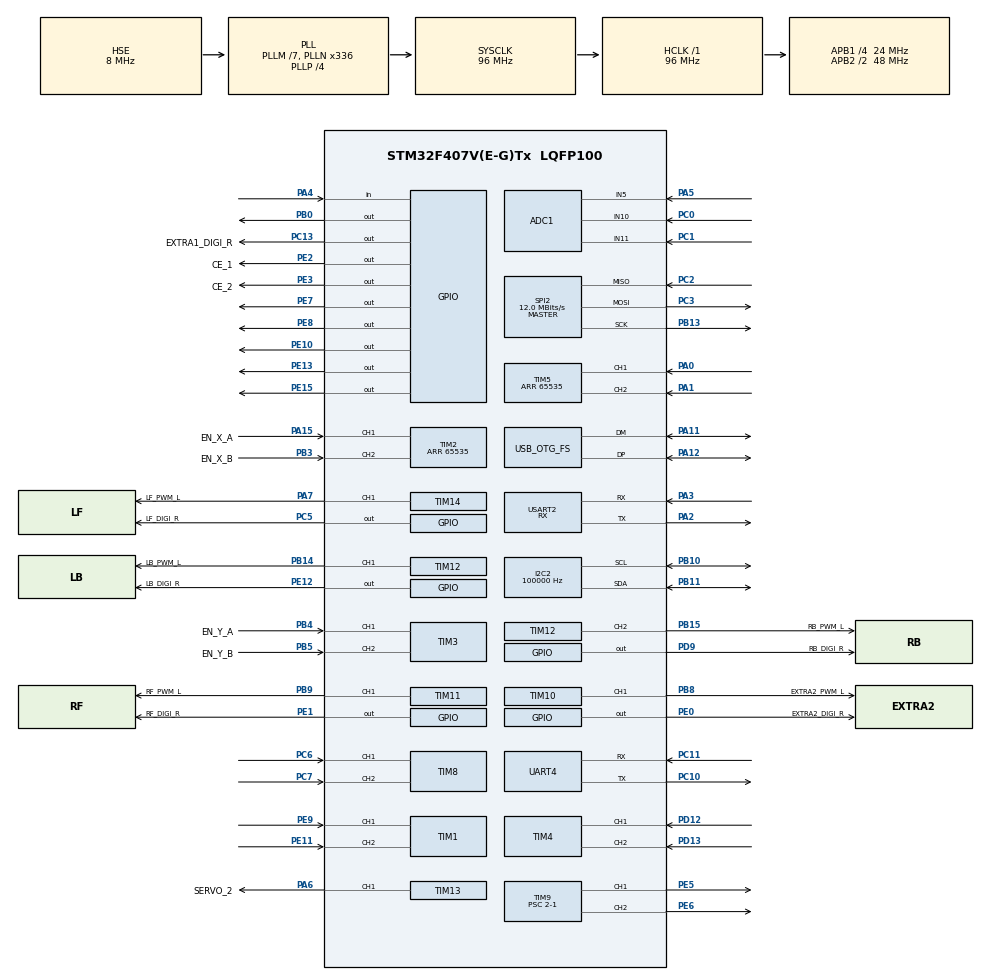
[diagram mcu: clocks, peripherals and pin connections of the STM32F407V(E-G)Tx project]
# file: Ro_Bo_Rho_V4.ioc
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ADC1.Channel-3\#ChannelRegularConversion=ADC_CHANNEL_5
ADC1.NbrOfConversionFlag=1
ADC1.Rank-3\#ChannelRegularConversion=1
ADC1.SamplingTime-3\#ChannelRegularConversion=ADC_SAMPLETIME_3CYCLES
ADC1.master=1
I2C2.ClockSpeed=100000
I2C2.I2C_Mode=I2C_Fast
Mcu.Family=STM32F4
Mcu.Name=STM32F407V(E-G)Tx
Mcu.Package=LQFP100
NVIC.OTG_FS_IRQn=true\:0\:0\:false\:false\:true\:false\:true\:true
NVIC.PriorityGroup=NVIC_PRIORITYGROUP_4
NVIC.USART2_IRQn=true\:0\:0\:false\:false\:true\:true\:true\:true
PA0-WKUP.GPIO_PuPd=GPIO_PULLDOWN
PA0-WKUP.GPIO_Speed=GPIO_SPEED_FREQ_VERY_HIGH
PA0-WKUP.Signal=S_TIM5_CH1
PA1.GPIO_PuPd=GPIO_PULLDOWN
PA1.GPIO_Speed=GPIO_SPEED_FREQ_VERY_HIGH
PA1.Signal=S_TIM5_CH2
PA11.Mode=Device_Only
PA11.Signal=USB_OTG_FS_DM
PA12.Mode=Device_Only
PA12.Signal=USB_OTG_FS_DP
PA15.GPIO_Label=EN_X_A
PA15.GPIO_PuPd=GPIO_NOPULL
PA15.Signal=S_TIM2_CH1_ETR
PA2.Mode=Asynchronous
PA2.Signal=USART2_TX
PA3.Mode=Asynchronous
PA3.Signal=USART2_RX
PA4.GPIO_PuPd=GPIO_PULLUP
PA4.Signal=GPIO_Input
PA5.Signal=ADCx_IN5
PA6.GPIO_Label=SERVO_2
PA6.Signal=S_TIM13_CH1
PA7.GPIO_Label=LF_PWM_L
PA7.Signal=S_TIM14_CH1
PB0.Signal=GPIO_Output
PB10.Mode=I2C
PB10.Signal=I2C2_SCL
PB11.Mode=I2C
PB11.Signal=I2C2_SDA
PB13.Mode=Full_Duplex_Master
PB13.Signal=SPI2_SCK
PB14.GPIO_Label=LB_PWM_L
PB14.Signal=S_TIM12_CH1
PB15.GPIO_Label=RB_PWM_L
PB15.Signal=S_TIM12_CH2
PB3.GPIO_Label=EN_X_B
PB3.Signal=S_TIM2_CH2
PB4.GPIO_Label=EN_Y_A
PB4.GPIO_PuPd=GPIO_PULLDOWN
PB4.Signal=S_TIM3_CH1
PB5.GPIO_Label=EN_Y_B
PB5.GPIO_PuPd=GPIO_PULLDOWN
PB5.Signal=S_TIM3_CH2
PB8.GPIO_Label=EXTRA2_PWM_L
PB8.Signal=S_TIM10_CH1
PB9.GPIO_Label=RF_PWM_L
PB9.Signal=S_TIM11_CH1
PC0.Signal=ADCx_IN10
PC1.Signal=ADCx_IN11
PC10.Mode=Asynchronous
PC10.Signal=UART4_TX
PC11.Mode=Asynchronous
PC11.Signal=UART4_RX
PC13-ANTI_TAMP.GPIO_Label=EXTRA1_DIGI_R
PC13-ANTI_TAMP.Signal=GPIO_Output
PC14-OSC32_IN.Mode=LSE-External-Oscillator
PC14-OSC32_IN.Signal=RCC_OSC32_IN
PC15-OSC32_OUT.Mode=LSE-External-Oscillator
PC15-OSC32_OUT.Signal=RCC_OSC32_OUT
PC2.Mode=Full_Duplex_Master
PC2.Signal=SPI2_MISO
PC3.Mode=Full_Duplex_Master
PC3.Signal=SPI2_MOSI
PC5.GPIO_Label=LF_DIGI_R
PC5.GPIO_PuPd=GPIO_PULLDOWN
PC5.Signal=GPIO_Output
PC6.GPIO_PuPd=GPIO_PULLDOWN
PC6.GPIO_Speed=GPIO_SPEED_FREQ_VERY_HIGH
PC6.Signal=S_TIM8_CH1
PC7.GPIO_PuPd=GPIO_PULLDOWN
PC7.GPIO_Speed=GPIO_SPEED_FREQ_VERY_HIGH
PC7.Signal=S_TIM8_CH2
PD12.GPIO_Speed=GPIO_SPEED_FREQ_VERY_HIGH
PD12.Signal=S_TIM4_CH1
PD13.GPIO_Speed=GPIO_SPEED_FREQ_VERY_HIGH
PD13.Signal=S_TIM4_CH2
PD9.GPIO_Label=RB_DIGI_R
PD9.GPIO_PuPd=GPIO_PULLDOWN
PD9.Signal=GPIO_Output
PE0.GPIO_Label=EXTRA2_DIGI_R
PE0.Signal=GPIO_Output
PE1.GPIO_Label=RF_DIGI_R
PE1.GPIO_PuPd=GPIO_PULLDOWN
PE1.Signal=GPIO_Output
PE10.Signal=GPIO_Output
PE11.GPIO_PuPd=GPIO_PULLDOWN
PE11.GPIO_Speed=GPIO_SPEED_FREQ_VERY_HIGH
PE11.Signal=S_TIM1_CH2
PE12.GPIO_Label=LB_DIGI_R
PE12.GPIO_PuPd=GPIO_PULLDOWN
PE12.Signal=GPIO_Output
PE13.Signal=GPIO_Output
PE15.Signal=GPIO_Output
PE2.GPIO_Label=CE_1
PE2.Signal=GPIO_Output
PE3.GPIO_Label=CE_2
PE3.Signal=GPIO_Output
PE5.GPIO_ModeDefaultPP=GPIO_MODE_AF_PP
PE5.GPIO_PuPd=GPIO_NOPULL
PE5.GPIO_Speed=GPIO_SPEED_FREQ_LOW
PE5.Signal=S_TIM9_CH1
PE6.GPIO_ModeDefaultPP=GPIO_MODE_AF_PP
PE6.GPIO_PuPd=GPIO_NOPULL
PE6.GPIO_Speed=GPIO_SPEED_FREQ_LOW
PE6.Signal=S_TIM9_CH2
PE7.Signal=GPIO_Output
PE8.Signal=GPIO_Output
PE9.GPIO_ModeDefaultPP=GPIO_MODE_AF_PP
PE9.GPIO_PuPd=GPIO_PULLDOWN
PE9.GPIO_Speed=GPIO_SPEED_FREQ_VERY_HIGH
PE9.Signal=S_TIM1_CH1
PH0-OSC_IN.Mode=HSE-External-Oscillator
PH0-OSC_IN.Signal=RCC_OSC_IN
PH1-OSC_OUT.Mode=HSE-External-Oscillator
PH1-OSC_OUT.Signal=RCC_OSC_OUT
ProjectManager.HeapSize=0x200
ProjectManager.StackSize=0x400
ProjectManager.TargetToolchain=STM32CubeIDE
RCC.48MHZClocksFreq_Value=48000000.00000001
RCC.AHBFreq_Value=96000000.00000001
RCC.APB1CLKDivider=RCC_HCLK_DIV4
RCC.APB1Freq_Value=24000000.000000004
RCC.APB1TimFreq_Value=48000000.00000001
RCC.APB2CLKDivider=RCC_HCLK_DIV2
RCC.APB2Freq_Value=48000000.00000001
RCC.APB2TimFreq_Value=96000000.00000001
RCC.CortexFreq_Value=96000000.00000001
RCC.HCLKFreq_Value=96000000.00000001
RCC.HSE_VALUE=8000000
RCC.HSI_VALUE=16000000
RCC.PLLM=7
RCC.PLLN=336
RCC.PLLP=RCC_PLLP_DIV4
RCC.PLLQ=8
RCC.SYSCLKFreq_VALUE=96000000.00000001
RCC.SYSCLKSource=RCC_SYSCLKSOURCE_PLLCLK
RCC.VCOOutputFreq_Value=384000000.00000006
SH.ADCx_IN10.0=ADC1_IN10,IN10
SH.ADCx_IN11.0=ADC1_IN11,IN11
SH.ADCx_IN5.0=ADC1_IN5,IN5
SH.S_TIM10_CH1.0=TIM10_CH1,PWM Generation1 CH1
SH.S_TIM11_CH1.0=TIM11_CH1,PWM Generation1 CH1
SH.S_TIM12_CH1.0=TIM12_CH1,PWM Generation1 CH1
SH.S_TIM12_CH2.0=TIM12_CH2,PWM Generation2 CH2
SH.S_TIM13_CH1.0=TIM13_CH1,PWM Generation1 CH1
SH.S_TIM14_CH1.0=TIM14_CH1,PWM Generation1 CH1
SH.S_TIM1_CH1.0=TIM1_CH1,Encoder_Interface
SH.S_TIM1_CH2.0=TIM1_CH2,Encoder_Interface
SH.S_TIM2_CH1_ETR.0=TIM2_CH1,Encoder_Interface
SH.S_TIM2_CH2.0=TIM2_CH2,Encoder_Interface
SH.S_TIM3_CH1.0=TIM3_CH1,Encoder_Interface
SH.S_TIM3_CH2.0=TIM3_CH2,Encoder_Interface
SH.S_TIM4_CH1.0=TIM4_CH1,Encoder_Interface
SH.S_TIM4_CH2.0=TIM4_CH2,Encoder_Interface
SH.S_TIM5_CH1.0=TIM5_CH1,Encoder_Interface
SH.S_TIM5_CH2.0=TIM5_CH2,Encoder_Interface
SH.S_TIM8_CH1.0=TIM8_CH1,Encoder_Interface
SH.S_TIM8_CH2.0=TIM8_CH2,Encoder_Interface
SH.S_TIM9_CH1.0=TIM9_CH1,PWM Generation1 CH1
SH.S_TIM9_CH2.0=TIM9_CH2,PWM Generation2 CH2
SPI2.CalculateBaudRate=12.0 MBits/s
SPI2.Direction=SPI_DIRECTION_2LINES
SPI2.Mode=SPI_MODE_MASTER
SPI2.VirtualType=VM_MASTER
TIM1.EncoderMode=TIM_ENCODERMODE_TI12
TIM10.Channel=TIM_CHANNEL_1
TIM10.Period=4096-1
TIM10.Prescaler=2-1
TIM11.Channel=TIM_CHANNEL_1
TIM11.Period=4096-1
TIM11.Prescaler=2-1
TIM12.Channel-PWM\ Generation1\ CH1=TIM_CHANNEL_1
TIM12.Channel-PWM\ Generation2\ CH2=TIM_CHANNEL_2
TIM12.Period=4096-1
TIM12.Prescaler=2-1
TIM13.Channel=TIM_CHANNEL_1
TIM13.Period=4096-1
TIM13.Prescaler=2-1
TIM14.Channel=TIM_CHANNEL_1
TIM14.Period=4096-1
TIM14.Prescaler=2-1
TIM2.EncoderMode=TIM_ENCODERMODE_TI12
TIM2.Period=65535
TIM3.EncoderMode=TIM_ENCODERMODE_TI12
TIM4.EncoderMode=TIM_ENCODERMODE_TI12
TIM5.EncoderMode=TIM_ENCODERMODE_TI12
TIM5.Period=65535
TIM8.EncoderMode=TIM_ENCODERMODE_TI12
TIM9.Channel-PWM\ Generation1\ CH1=TIM_CHANNEL_1
TIM9.Channel-PWM\ Generation2\ CH2=TIM_CHANNEL_2
TIM9.Period=4096-1
TIM9.Prescaler=2-1
UART4.VirtualMode=Asynchronous
USART2.Mode=MODE_RX
USART2.VirtualMode=VM_ASYNC
USB_DEVICE.CLASS_NAME_FS=CDC
USB_DEVICE.VirtualMode-CDC_FS=Cdc
USB_DEVICE.VirtualModeFS=Cdc_FS
USB_OTG_FS.VirtualMode=Device_Only
VP_TIM10_VS_ClockSourceINT.Mode=Enable_Timer
VP_TIM11_VS_ClockSourceINT.Mode=Enable_Timer
VP_TIM13_VS_ClockSourceINT.Mode=Enable_Timer
VP_TIM14_VS_ClockSourceINT.Mode=Enable_Timer
VP_USB_DEVICE_VS_USB_DEVICE_CDC_FS.Mode=CDC_FS
board=custom

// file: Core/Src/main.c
/* USER CODE BEGIN Header */
/**
  ******************************************************************************
  * @file           : main.c
  * @brief          : Main program body
  ******************************************************************************
  * @attention
  *
  * Copyright (c) 2025 STMicroelectronics.
  * All rights reserved.
  *
  * This software is licensed under terms that can be found in the LICENSE file
  * in the root directory of this software component.
  * If no LICENSE file comes with this software, it is provided AS-IS.
  *
  ******************************************************************************
  */
/* USER CODE END Header */
#include "main.h"
#include "usb_device.h"

/* USER CODE BEGIN Includes */
#include "UART_ESP.h"

#include "Encoder_Motor.h"

#include "Inverse_Kinematics.h"
/* USER CODE END Includes */

ADC_HandleTypeDef hadc1;

I2C_HandleTypeDef hi2c2;

SPI_HandleTypeDef hspi2;

TIM_HandleTypeDef htim1;
TIM_HandleTypeDef htim2;
TIM_HandleTypeDef htim3;
TIM_HandleTypeDef htim4;
TIM_HandleTypeDef htim5;
TIM_HandleTypeDef htim8;
TIM_HandleTypeDef htim9;
TIM_HandleTypeDef htim10;
TIM_HandleTypeDef htim11;
TIM_HandleTypeDef htim12;
TIM_HandleTypeDef htim13;
TIM_HandleTypeDef htim14;

UART_HandleTypeDef huart4;
UART_HandleTypeDef huart2;

void SystemClock_Config(void);
static void MX_GPIO_Init(void);
static void MX_TIM2_Init(void);
static void MX_TIM4_Init(void);
static void MX_ADC1_Init(void);
static void MX_SPI2_Init(void);
static void MX_TIM1_Init(void);
static void MX_TIM8_Init(void);
static void MX_TIM9_Init(void);
static void MX_TIM10_Init(void);
static void MX_TIM11_Init(void);
static void MX_TIM12_Init(void);
static void MX_TIM13_Init(void);
static void MX_TIM14_Init(void);
static void MX_USART2_UART_Init(void);
static void MX_UART4_Init(void);
static void MX_I2C2_Init(void);
static void MX_TIM3_Init(void);
static void MX_TIM5_Init(void);

/* USER CODE BEGIN 0 */
ControllerData Str_PS2;

long PastTime = 0;

float Vx = 0.0f;
float Vy = 0.0f;
float Vz = 0.0f;

uint8_t addr;
float Rad = -0.7854f;

float PID[6] = { 0 };
/* USER CODE END 0 */

int main(void)
{

  /* MCU Configuration--------------------------------------------------------*/

  /* Reset of all peripherals, Initializes the Flash interface and the Systick. */
  HAL_Init();

  /* Configure the system clock */
  SystemClock_Config();

  /* Initialize all configured peripherals */
  MX_GPIO_Init();
  MX_TIM2_Init();
  MX_TIM4_Init();
  MX_ADC1_Init();
  MX_SPI2_Init();
  MX_TIM1_Init();
  MX_TIM8_Init();
  MX_TIM9_Init();
  MX_TIM10_Init();
  MX_TIM11_Init();
  MX_TIM12_Init();
  MX_TIM13_Init();
  MX_TIM14_Init();
  MX_USART2_UART_Init();
  MX_USB_DEVICE_Init();
  MX_UART4_Init();
  MX_I2C2_Init();
  MX_TIM3_Init();
  MX_TIM5_Init();
  /* USER CODE BEGIN 2 */
	Motor_setup_LF(&htim14, &htim5, "PC05");
	Motor_setup_LB(&htim12, &htim1, "PE12");
	Motor_setup_RF(&htim11, &htim8, "PE01");
	Motor_setup_RB(&htim12, &htim4, "PD09");

	Motor_setup_EXTRA1(&htim10, &htim2, "PE00");
	Motor_setup_EXTRA2(&htim9, &htim3, "PC13");

	//	HAL_TIMEx_PWMN_Start(&htim9, TIM_CHANNEL_2);

	Setup_Gear_Ratio(27);
	Setup_CPR(68);
	Setup_frequency_Motor(100);

	Setup_PID_Wheel(1.5, 0.05, 0.1, 0, 360, _LF);
	Setup_PID_Wheel(1.5, 0.05, 0.1, 0, 360, _LB);
	Setup_PID_Wheel(1.5, 0.05, 0.1, 0, 360, _RF);
	Setup_PID_Wheel(1.5, 0.05, 0.1, 0, 360, _RB);

	//	Setup_PID_Wheel(1.0, 0.0, 0.2, 0, 300, _EXTRA1);
	//	Setup_PID_Wheel(1.0, 0.0, 0.2, 0, 300, _EXTRA2);

	Setup_Ramp_Count(1.5, 0.004, 0.1, 13790.0, 2700.0);

	//	Setup_frequency_Forward_Kinematic(100);
	//  Setup_Forward_Kinematic(0.23f ,0.23f ,0.06f);

	Setup_Inverse_Kinematic(0.23f, 0.23f, 0.06f);

	HAL_UART_Receive_IT(&huart2, (uint8_t*) &Str_PS2, sizeof(Str_PS2));
  /* USER CODE END 2 */

  /* Infinite loop */
  while (1)
  {

    /* USER CODE BEGIN 3 */
		if ((uwTick - PastTime) > 10) {
			PastTime = uwTick;

			digitalWrite("PE15", (UART_Runner(&huart2) == 1) ? 1 : 0);

			Vx = map(Str_PS2.stickValue[0], 100.0f, -100.0f, 4.0f, -4.0f);
			Vy = map(Str_PS2.stickValue[1], 100.0f, -100.0f, 4.0f, -4.0f);
			Vz = map(Str_PS2.stickValue[3], 100.0f, -100.0f, -5.0f, 5.0f);

//			Inverse_Kinematic(Vx, Vy, Vz);
			Inverse_Kinematic_Lock_Direction(Vx, Vy, Vz, Rad);

			Motor_Speed_LF(getRad_s_to_RPM(get_w_LF()),getRPM_TIM_Wheel(&htim5, _LF));
			Motor_Speed_LB(getRad_s_to_RPM(get_w_LB()),getRPM_TIM_Wheel(&htim1, _LB));
			Motor_Speed_RF(getRad_s_to_RPM(get_w_RF()),getRPM_TIM_Wheel(&htim8, _RF));
			Motor_Speed_RB(getRad_s_to_RPM(get_w_RB()),getRPM_TIM_Wheel(&htim4, _RB));

			Game_Play_ROBOT_1(&htim9 ,&htim2);

			///////////////////////////////////////////test//////////////////////////////////////////////////////////////

//			Motor_Speed_LF(250, getRPM_TIM_Wheel(&htim5, _LF));
//			Motor_Speed_LB(250, getRPM_TIM_Wheel(&htim1, _LB));
//			Motor_Speed_RF(250, getRPM_TIM_Wheel(&htim8, _RF));
//			Motor_Speed_RB(250, getRPM_TIM_Wheel(&htim4, _RB));
//
//			Motor_DutyCycle_LF(4000);
//			Motor_DutyCycle_LB(4000);
//			Motor_DutyCycle_RF(4000);
//			Motor_DutyCycle_RB(4000);
//
//			Motor_DutyCycle_EXTRA1(-4000);
//			Motor_DutyCycle_EXTRA2(4000);
//
//			getCount(&htim2, _EXTRA1);
//			getCount(&htim3, _EXTRA2);
//
//			getRPM_TIM_Wheel(&htim5, _LF);
//			getRPM_TIM_Wheel(&htim1, _LB);
//			getRPM_TIM_Wheel(&htim8, _RF);
//			getRPM_TIM_Wheel(&htim4, _RB);

//			getRPM_TIM_Wheel(&htim2, _EXTRA1);
//			getRPM_TIM_Wheel(&htim3, _RB);

//			Vx = digitalRead("PA04");

//			Motor_DutyCycle_EXTRA1(Ramp_Count(-135.0 ,Count_to_degree(getCount(&htim2 ,_EXTRA1))));
//			Motor_DutyCycle(&htim9, Servo1, "PB00", 2000);

			///////////////////////////////////////////test//////////////////////////////////////////////////////////////

		}
  }
  /* USER CODE END 3 */
}

void SystemClock_Config(void)
{
  RCC_OscInitTypeDef RCC_OscInitStruct = {0};
  RCC_ClkInitTypeDef RCC_ClkInitStruct = {0};

  /** Configure the main internal regulator output voltage
  */
  __HAL_RCC_PWR_CLK_ENABLE();
  __HAL_PWR_VOLTAGESCALING_CONFIG(PWR_REGULATOR_VOLTAGE_SCALE1);

  /** Initializes the RCC Oscillators according to the specified parameters
  * in the RCC_OscInitTypeDef structure.
  */
  RCC_OscInitStruct.OscillatorType = RCC_OSCILLATORTYPE_HSE;
  RCC_OscInitStruct.HSEState = RCC_HSE_ON;
  RCC_OscInitStruct.PLL.PLLState = RCC_PLL_ON;
  RCC_OscInitStruct.PLL.PLLSource = RCC_PLLSOURCE_HSE;
  RCC_OscInitStruct.PLL.PLLM = 7;
  RCC_OscInitStruct.PLL.PLLN = 336;
  RCC_OscInitStruct.PLL.PLLP = RCC_PLLP_DIV4;
  RCC_OscInitStruct.PLL.PLLQ = 8;
  if (HAL_RCC_OscConfig(&RCC_OscInitStruct) != HAL_OK)
  {
    Error_Handler();
  }

  /** Initializes the CPU, AHB and APB buses clocks
  */
  RCC_ClkInitStruct.ClockType = RCC_CLOCKTYPE_HCLK|RCC_CLOCKTYPE_SYSCLK
                              |RCC_CLOCKTYPE_PCLK1|RCC_CLOCKTYPE_PCLK2;
  RCC_ClkInitStruct.SYSCLKSource = RCC_SYSCLKSOURCE_PLLCLK;
  RCC_ClkInitStruct.AHBCLKDivider = RCC_SYSCLK_DIV1;
  RCC_ClkInitStruct.APB1CLKDivider = RCC_HCLK_DIV4;
  RCC_ClkInitStruct.APB2CLKDivider = RCC_HCLK_DIV2;

  if (HAL_RCC_ClockConfig(&RCC_ClkInitStruct, FLASH_LATENCY_3) != HAL_OK)
  {
    Error_Handler();
  }
}

static void MX_ADC1_Init(void)
{

  ADC_ChannelConfTypeDef sConfig = {0};

  /** Configure the global features of the ADC (Clock, Resolution, Data Alignment and number of conversion)
  */
  hadc1.Instance = ADC1;
  hadc1.Init.ClockPrescaler = ADC_CLOCK_SYNC_PCLK_DIV2;
  hadc1.Init.Resolution = ADC_RESOLUTION_12B;
  hadc1.Init.ScanConvMode = DISABLE;
  hadc1.Init.ContinuousConvMode = DISABLE;
  hadc1.Init.DiscontinuousConvMode = DISABLE;
  hadc1.Init.ExternalTrigConvEdge = ADC_EXTERNALTRIGCONVEDGE_NONE;
  hadc1.Init.ExternalTrigConv = ADC_SOFTWARE_START;
  hadc1.Init.DataAlign = ADC_DATAALIGN_RIGHT;
  hadc1.Init.NbrOfConversion = 1;
  hadc1.Init.DMAContinuousRequests = DISABLE;
  hadc1.Init.EOCSelection = ADC_EOC_SINGLE_CONV;
  if (HAL_ADC_Init(&hadc1) != HAL_OK)
  {
    Error_Handler();
  }

  /** Configure for the selected ADC regular channel its corresponding rank in the sequencer and its sample time.
  */
  sConfig.Channel = ADC_CHANNEL_5;
  sConfig.Rank = 1;
  sConfig.SamplingTime = ADC_SAMPLETIME_3CYCLES;
  if (HAL_ADC_ConfigChannel(&hadc1, &sConfig) != HAL_OK)
  {
    Error_Handler();
  }

}

static void MX_I2C2_Init(void)
{

  hi2c2.Instance = I2C2;
  hi2c2.Init.ClockSpeed = 100000;
  hi2c2.Init.DutyCycle = I2C_DUTYCYCLE_2;
  hi2c2.Init.OwnAddress1 = 0;
  hi2c2.Init.AddressingMode = I2C_ADDRESSINGMODE_7BIT;
  hi2c2.Init.DualAddressMode = I2C_DUALADDRESS_DISABLE;
  hi2c2.Init.OwnAddress2 = 0;
  hi2c2.Init.GeneralCallMode = I2C_GENERALCALL_DISABLE;
  hi2c2.Init.NoStretchMode = I2C_NOSTRETCH_DISABLE;
  if (HAL_I2C_Init(&hi2c2) != HAL_OK)
  {
    Error_Handler();
  }

}

static void MX_SPI2_Init(void)
{

  /* SPI2 parameter configuration*/
  hspi2.Instance = SPI2;
  hspi2.Init.Mode = SPI_MODE_MASTER;
  hspi2.Init.Direction = SPI_DIRECTION_2LINES;
  hspi2.Init.DataSize = SPI_DATASIZE_8BIT;
  hspi2.Init.CLKPolarity = SPI_POLARITY_LOW;
  hspi2.Init.CLKPhase = SPI_PHASE_1EDGE;
  hspi2.Init.NSS = SPI_NSS_SOFT;
  hspi2.Init.BaudRatePrescaler = SPI_BAUDRATEPRESCALER_2;
  hspi2.Init.FirstBit = SPI_FIRSTBIT_MSB;
  hspi2.Init.TIMode = SPI_TIMODE_DISABLE;
  hspi2.Init.CRCCalculation = SPI_CRCCALCULATION_DISABLE;
  hspi2.Init.CRCPolynomial = 10;
  if (HAL_SPI_Init(&hspi2) != HAL_OK)
  {
    Error_Handler();
  }

}

static void MX_TIM1_Init(void)
{

  TIM_Encoder_InitTypeDef sConfig = {0};
  TIM_MasterConfigTypeDef sMasterConfig = {0};

  htim1.Instance = TIM1;
  htim1.Init.Prescaler = 0;
  htim1.Init.CounterMode = TIM_COUNTERMODE_UP;
  htim1.Init.Period = 65535;
  htim1.Init.ClockDivision = TIM_CLOCKDIVISION_DIV1;
  htim1.Init.RepetitionCounter = 0;
  htim1.Init.AutoReloadPreload = TIM_AUTORELOAD_PRELOAD_DISABLE;
  sConfig.EncoderMode = TIM_ENCODERMODE_TI12;
  sConfig.IC1Polarity = TIM_ICPOLARITY_RISING;
  sConfig.IC1Selection = TIM_ICSELECTION_DIRECTTI;
  sConfig.IC1Prescaler = TIM_ICPSC_DIV1;
  sConfig.IC1Filter = 0;
  sConfig.IC2Polarity = TIM_ICPOLARITY_RISING;
  sConfig.IC2Selection = TIM_ICSELECTION_DIRECTTI;
  sConfig.IC2Prescaler = TIM_ICPSC_DIV1;
  sConfig.IC2Filter = 0;
  if (HAL_TIM_Encoder_Init(&htim1, &sConfig) != HAL_OK)
  {
    Error_Handler();
  }
  sMasterConfig.MasterOutputTrigger = TIM_TRGO_RESET;
  sMasterConfig.MasterSlaveMode = TIM_MASTERSLAVEMODE_DISABLE;
  if (HAL_TIMEx_MasterConfigSynchronization(&htim1, &sMasterConfig) != HAL_OK)
  {
    Error_Handler();
  }

}

static void MX_TIM2_Init(void)
{

  TIM_Encoder_InitTypeDef sConfig = {0};
  TIM_MasterConfigTypeDef sMasterConfig = {0};

  htim2.Instance = TIM2;
  htim2.Init.Prescaler = 0;
  htim2.Init.CounterMode = TIM_COUNTERMODE_UP;
  htim2.Init.Period = 65535;
  htim2.Init.ClockDivision = TIM_CLOCKDIVISION_DIV1;
  htim2.Init.AutoReloadPreload = TIM_AUTORELOAD_PRELOAD_DISABLE;
  sConfig.EncoderMode = TIM_ENCODERMODE_TI12;
  sConfig.IC1Polarity = TIM_ICPOLARITY_RISING;
  sConfig.IC1Selection = TIM_ICSELECTION_DIRECTTI;
  sConfig.IC1Prescaler = TIM_ICPSC_DIV1;
  sConfig.IC1Filter = 0;
  sConfig.IC2Polarity = TIM_ICPOLARITY_RISING;
  sConfig.IC2Selection = TIM_ICSELECTION_DIRECTTI;
  sConfig.IC2Prescaler = TIM_ICPSC_DIV1;
  sConfig.IC2Filter = 0;
  if (HAL_TIM_Encoder_Init(&htim2, &sConfig) != HAL_OK)
  {
    Error_Handler();
  }
  sMasterConfig.MasterOutputTrigger = TIM_TRGO_RESET;
  sMasterConfig.MasterSlaveMode = TIM_MASTERSLAVEMODE_DISABLE;
  if (HAL_TIMEx_MasterConfigSynchronization(&htim2, &sMasterConfig) != HAL_OK)
  {
    Error_Handler();
  }

}

static void MX_TIM3_Init(void)
{

  TIM_Encoder_InitTypeDef sConfig = {0};
  TIM_MasterConfigTypeDef sMasterConfig = {0};

  htim3.Instance = TIM3;
  htim3.Init.Prescaler = 0;
  htim3.Init.CounterMode = TIM_COUNTERMODE_UP;
  htim3.Init.Period = 65535;
  htim3.Init.ClockDivision = TIM_CLOCKDIVISION_DIV1;
  htim3.Init.AutoReloadPreload = TIM_AUTORELOAD_PRELOAD_DISABLE;
  sConfig.EncoderMode = TIM_ENCODERMODE_TI12;
  sConfig.IC1Polarity = TIM_ICPOLARITY_RISING;
  sConfig.IC1Selection = TIM_ICSELECTION_DIRECTTI;
  sConfig.IC1Prescaler = TIM_ICPSC_DIV1;
  sConfig.IC1Filter = 0;
  sConfig.IC2Polarity = TIM_ICPOLARITY_RISING;
  sConfig.IC2Selection = TIM_ICSELECTION_DIRECTTI;
  sConfig.IC2Prescaler = TIM_ICPSC_DIV1;
  sConfig.IC2Filter = 0;
  if (HAL_TIM_Encoder_Init(&htim3, &sConfig) != HAL_OK)
  {
    Error_Handler();
  }
  sMasterConfig.MasterOutputTrigger = TIM_TRGO_RESET;
  sMasterConfig.MasterSlaveMode = TIM_MASTERSLAVEMODE_DISABLE;
  if (HAL_TIMEx_MasterConfigSynchronization(&htim3, &sMasterConfig) != HAL_OK)
  {
    Error_Handler();
  }

}

static void MX_TIM4_Init(void)
{

  TIM_Encoder_InitTypeDef sConfig = {0};
  TIM_MasterConfigTypeDef sMasterConfig = {0};

  htim4.Instance = TIM4;
  htim4.Init.Prescaler = 0;
  htim4.Init.CounterMode = TIM_COUNTERMODE_UP;
  htim4.Init.Period = 65535;
  htim4.Init.ClockDivision = TIM_CLOCKDIVISION_DIV1;
  htim4.Init.AutoReloadPreload = TIM_AUTORELOAD_PRELOAD_DISABLE;
  sConfig.EncoderMode = TIM_ENCODERMODE_TI12;
  sConfig.IC1Polarity = TIM_ICPOLARITY_RISING;
  sConfig.IC1Selection = TIM_ICSELECTION_DIRECTTI;
  sConfig.IC1Prescaler = TIM_ICPSC_DIV1;
  sConfig.IC1Filter = 0;
  sConfig.IC2Polarity = TIM_ICPOLARITY_RISING;
  sConfig.IC2Selection = TIM_ICSELECTION_DIRECTTI;
  sConfig.IC2Prescaler = TIM_ICPSC_DIV1;
  sConfig.IC2Filter = 0;
  if (HAL_TIM_Encoder_Init(&htim4, &sConfig) != HAL_OK)
  {
    Error_Handler();
  }
  sMasterConfig.MasterOutputTrigger = TIM_TRGO_RESET;
  sMasterConfig.MasterSlaveMode = TIM_MASTERSLAVEMODE_DISABLE;
  if (HAL_TIMEx_MasterConfigSynchronization(&htim4, &sMasterConfig) != HAL_OK)
  {
    Error_Handler();
  }

}

static void MX_TIM5_Init(void)
{

  TIM_Encoder_InitTypeDef sConfig = {0};
  TIM_MasterConfigTypeDef sMasterConfig = {0};

  htim5.Instance = TIM5;
  htim5.Init.Prescaler = 0;
  htim5.Init.CounterMode = TIM_COUNTERMODE_UP;
  htim5.Init.Period = 65535;
  htim5.Init.ClockDivision = TIM_CLOCKDIVISION_DIV1;
  htim5.Init.AutoReloadPreload = TIM_AUTORELOAD_PRELOAD_DISABLE;
  sConfig.EncoderMode = TIM_ENCODERMODE_TI12;
  sConfig.IC1Polarity = TIM_ICPOLARITY_RISING;
  sConfig.IC1Selection = TIM_ICSELECTION_DIRECTTI;
  sConfig.IC1Prescaler = TIM_ICPSC_DIV1;
  sConfig.IC1Filter = 0;
  sConfig.IC2Polarity = TIM_ICPOLARITY_RISING;
  sConfig.IC2Selection = TIM_ICSELECTION_DIRECTTI;
  sConfig.IC2Prescaler = TIM_ICPSC_DIV1;
  sConfig.IC2Filter = 0;
  if (HAL_TIM_Encoder_Init(&htim5, &sConfig) != HAL_OK)
  {
    Error_Handler();
  }
  sMasterConfig.MasterOutputTrigger = TIM_TRGO_RESET;
  sMasterConfig.MasterSlaveMode = TIM_MASTERSLAVEMODE_DISABLE;
  if (HAL_TIMEx_MasterConfigSynchronization(&htim5, &sMasterConfig) != HAL_OK)
  {
    Error_Handler();
  }

}

static void MX_TIM8_Init(void)
{

  TIM_Encoder_InitTypeDef sConfig = {0};
  TIM_MasterConfigTypeDef sMasterConfig = {0};

  htim8.Instance = TIM8;
  htim8.Init.Prescaler = 0;
  htim8.Init.CounterMode = TIM_COUNTERMODE_UP;
  htim8.Init.Period = 65535;
  htim8.Init.ClockDivision = TIM_CLOCKDIVISION_DIV1;
  htim8.Init.RepetitionCounter = 0;
  htim8.Init.AutoReloadPreload = TIM_AUTORELOAD_PRELOAD_DISABLE;
  sConfig.EncoderMode = TIM_ENCODERMODE_TI12;
  sConfig.IC1Polarity = TIM_ICPOLARITY_RISING;
  sConfig.IC1Selection = TIM_ICSELECTION_DIRECTTI;
  sConfig.IC1Prescaler = TIM_ICPSC_DIV1;
  sConfig.IC1Filter = 0;
  sConfig.IC2Polarity = TIM_ICPOLARITY_RISING;
  sConfig.IC2Selection = TIM_ICSELECTION_DIRECTTI;
  sConfig.IC2Prescaler = TIM_ICPSC_DIV1;
  sConfig.IC2Filter = 0;
  if (HAL_TIM_Encoder_Init(&htim8, &sConfig) != HAL_OK)
  {
    Error_Handler();
  }
  sMasterConfig.MasterOutputTrigger = TIM_TRGO_RESET;
  sMasterConfig.MasterSlaveMode = TIM_MASTERSLAVEMODE_DISABLE;
  if (HAL_TIMEx_MasterConfigSynchronization(&htim8, &sMasterConfig) != HAL_OK)
  {
    Error_Handler();
  }

}

static void MX_TIM9_Init(void)
{

  TIM_OC_InitTypeDef sConfigOC = {0};

  htim9.Instance = TIM9;
  htim9.Init.Prescaler = 2-1;
  htim9.Init.CounterMode = TIM_COUNTERMODE_UP;
  htim9.Init.Period = 4096-1;
  htim9.Init.ClockDivision = TIM_CLOCKDIVISION_DIV1;
  htim9.Init.AutoReloadPreload = TIM_AUTORELOAD_PRELOAD_DISABLE;
  if (HAL_TIM_PWM_Init(&htim9) != HAL_OK)
  {
    Error_Handler();
  }
  sConfigOC.OCMode = TIM_OCMODE_PWM1;
  sConfigOC.Pulse = 0;
  sConfigOC.OCPolarity = TIM_OCPOLARITY_HIGH;
  sConfigOC.OCFastMode = TIM_OCFAST_DISABLE;
  if (HAL_TIM_PWM_ConfigChannel(&htim9, &sConfigOC, TIM_CHANNEL_1) != HAL_OK)
  {
    Error_Handler();
  }
  if (HAL_TIM_PWM_ConfigChannel(&htim9, &sConfigOC, TIM_CHANNEL_2) != HAL_OK)
  {
    Error_Handler();
  }
  HAL_TIM_MspPostInit(&htim9);

}

static void MX_TIM10_Init(void)
{

  TIM_OC_InitTypeDef sConfigOC = {0};

  htim10.Instance = TIM10;
  htim10.Init.Prescaler = 2-1;
  htim10.Init.CounterMode = TIM_COUNTERMODE_UP;
  htim10.Init.Period = 4096-1;
  htim10.Init.ClockDivision = TIM_CLOCKDIVISION_DIV1;
  htim10.Init.AutoReloadPreload = TIM_AUTORELOAD_PRELOAD_DISABLE;
  if (HAL_TIM_Base_Init(&htim10) != HAL_OK)
  {
    Error_Handler();
  }
  if (HAL_TIM_PWM_Init(&htim10) != HAL_OK)
  {
    Error_Handler();
  }
  sConfigOC.OCMode = TIM_OCMODE_PWM1;
  sConfigOC.Pulse = 0;
  sConfigOC.OCPolarity = TIM_OCPOLARITY_HIGH;
  sConfigOC.OCFastMode = TIM_OCFAST_DISABLE;
  if (HAL_TIM_PWM_ConfigChannel(&htim10, &sConfigOC, TIM_CHANNEL_1) != HAL_OK)
  {
    Error_Handler();
  }
  HAL_TIM_MspPostInit(&htim10);

}

static void MX_TIM11_Init(void)
{

  TIM_OC_InitTypeDef sConfigOC = {0};

  htim11.Instance = TIM11;
  htim11.Init.Prescaler = 2-1;
  htim11.Init.CounterMode = TIM_COUNTERMODE_UP;
  htim11.Init.Period = 4096-1;
  htim11.Init.ClockDivision = TIM_CLOCKDIVISION_DIV1;
  htim11.Init.AutoReloadPreload = TIM_AUTORELOAD_PRELOAD_DISABLE;
  if (HAL_TIM_Base_Init(&htim11) != HAL_OK)
  {
    Error_Handler();
  }
  if (HAL_TIM_PWM_Init(&htim11) != HAL_OK)
  {
    Error_Handler();
  }
  sConfigOC.OCMode = TIM_OCMODE_PWM1;
  sConfigOC.Pulse = 0;
  sConfigOC.OCPolarity = TIM_OCPOLARITY_HIGH;
  sConfigOC.OCFastMode = TIM_OCFAST_DISABLE;
  if (HAL_TIM_PWM_ConfigChannel(&htim11, &sConfigOC, TIM_CHANNEL_1) != HAL_OK)
  {
    Error_Handler();
  }
  HAL_TIM_MspPostInit(&htim11);

}

static void MX_TIM12_Init(void)
{

  TIM_OC_InitTypeDef sConfigOC = {0};

  htim12.Instance = TIM12;
  htim12.Init.Prescaler = 2-1;
  htim12.Init.CounterMode = TIM_COUNTERMODE_UP;
  htim12.Init.Period = 4096-1;
  htim12.Init.ClockDivision = TIM_CLOCKDIVISION_DIV1;
  htim12.Init.AutoReloadPreload = TIM_AUTORELOAD_PRELOAD_DISABLE;
  if (HAL_TIM_PWM_Init(&htim12) != HAL_OK)
  {
    Error_Handler();
  }
  sConfigOC.OCMode = TIM_OCMODE_PWM1;
  sConfigOC.Pulse = 0;
  sConfigOC.OCPolarity = TIM_OCPOLARITY_HIGH;
  sConfigOC.OCFastMode = TIM_OCFAST_DISABLE;
  if (HAL_TIM_PWM_ConfigChannel(&htim12, &sConfigOC, TIM_CHANNEL_1) != HAL_OK)
  {
    Error_Handler();
  }
  if (HAL_TIM_PWM_ConfigChannel(&htim12, &sConfigOC, TIM_CHANNEL_2) != HAL_OK)
  {
    Error_Handler();
  }
  HAL_TIM_MspPostInit(&htim12);

}

static void MX_TIM13_Init(void)
{

  TIM_OC_InitTypeDef sConfigOC = {0};

  htim13.Instance = TIM13;
  htim13.Init.Prescaler = 2-1;
  htim13.Init.CounterMode = TIM_COUNTERMODE_UP;
  htim13.Init.Period = 4096-1;
  htim13.Init.ClockDivision = TIM_CLOCKDIVISION_DIV1;
  htim13.Init.AutoReloadPreload = TIM_AUTORELOAD_PRELOAD_DISABLE;
  if (HAL_TIM_Base_Init(&htim13) != HAL_OK)
  {
    Error_Handler();
  }
  if (HAL_TIM_PWM_Init(&htim13) != HAL_OK)
  {
    Error_Handler();
  }
  sConfigOC.OCMode = TIM_OCMODE_PWM1;
  sConfigOC.Pulse = 0;
  sConfigOC.OCPolarity = TIM_OCPOLARITY_HIGH;
  sConfigOC.OCFastMode = TIM_OCFAST_DISABLE;
  if (HAL_TIM_PWM_ConfigChannel(&htim13, &sConfigOC, TIM_CHANNEL_1) != HAL_OK)
  {
    Error_Handler();
  }
  HAL_TIM_MspPostInit(&htim13);

}

static void MX_TIM14_Init(void)
{

  TIM_OC_InitTypeDef sConfigOC = {0};

  htim14.Instance = TIM14;
  htim14.Init.Prescaler = 2-1;
  htim14.Init.CounterMode = TIM_COUNTERMODE_UP;
  htim14.Init.Period = 4096-1;
  htim14.Init.ClockDivision = TIM_CLOCKDIVISION_DIV1;
  htim14.Init.AutoReloadPreload = TIM_AUTORELOAD_PRELOAD_DISABLE;
  if (HAL_TIM_Base_Init(&htim14) != HAL_OK)
  {
    Error_Handler();
  }
  if (HAL_TIM_PWM_Init(&htim14) != HAL_OK)
  {
    Error_Handler();
  }
  sConfigOC.OCMode = TIM_OCMODE_PWM1;
  sConfigOC.Pulse = 0;
  sConfigOC.OCPolarity = TIM_OCPOLARITY_HIGH;
  sConfigOC.OCFastMode = TIM_OCFAST_DISABLE;
  if (HAL_TIM_PWM_ConfigChannel(&htim14, &sConfigOC, TIM_CHANNEL_1) != HAL_OK)
  {
    Error_Handler();
  }
  HAL_TIM_MspPostInit(&htim14);

}

static void MX_UART4_Init(void)
{

  huart4.Instance = UART4;
  huart4.Init.BaudRate = 115200;
  huart4.Init.WordLength = UART_WORDLENGTH_8B;
  huart4.Init.StopBits = UART_STOPBITS_1;
  huart4.Init.Parity = UART_PARITY_NONE;
  huart4.Init.Mode = UART_MODE_TX_RX;
  huart4.Init.HwFlowCtl = UART_HWCONTROL_NONE;
  huart4.Init.OverSampling = UART_OVERSAMPLING_16;
  if (HAL_UART_Init(&huart4) != HAL_OK)
  {
    Error_Handler();
  }

}

static void MX_USART2_UART_Init(void)
{

  huart2.Instance = USART2;
  huart2.Init.BaudRate = 115200;
  huart2.Init.WordLength = UART_WORDLENGTH_8B;
  huart2.Init.StopBits = UART_STOPBITS_1;
  huart2.Init.Parity = UART_PARITY_NONE;
  huart2.Init.Mode = UART_MODE_RX;
  huart2.Init.HwFlowCtl = UART_HWCONTROL_NONE;
  huart2.Init.OverSampling = UART_OVERSAMPLING_16;
  if (HAL_UART_Init(&huart2) != HAL_OK)
  {
    Error_Handler();
  }

}

static void MX_GPIO_Init(void)
{
  GPIO_InitTypeDef GPIO_InitStruct = {0};

  /* GPIO Ports Clock Enable */
  __HAL_RCC_GPIOE_CLK_ENABLE();
  __HAL_RCC_GPIOC_CLK_ENABLE();
  __HAL_RCC_GPIOH_CLK_ENABLE();
  __HAL_RCC_GPIOA_CLK_ENABLE();
  __HAL_RCC_GPIOB_CLK_ENABLE();
  __HAL_RCC_GPIOD_CLK_ENABLE();

  /*Configure GPIO pin Output Level */
  HAL_GPIO_WritePin(GPIOE, CE_1_Pin|CE_2_Pin|GPIO_PIN_7|GPIO_PIN_8
                          |GPIO_PIN_10|LB_DIGI_R_Pin|GPIO_PIN_13|GPIO_PIN_15
                          |EXTRA2_DIGI_R_Pin|RF_DIGI_R_Pin, GPIO_PIN_RESET);

  /*Configure GPIO pin Output Level */
  HAL_GPIO_WritePin(GPIOC, EXTRA1_DIGI_R_Pin|LF_DIGI_R_Pin, GPIO_PIN_RESET);

  /*Configure GPIO pin Output Level */
  HAL_GPIO_WritePin(GPIOB, GPIO_PIN_0, GPIO_PIN_RESET);

  /*Configure GPIO pin Output Level */
  HAL_GPIO_WritePin(RB_DIGI_R_GPIO_Port, RB_DIGI_R_Pin, GPIO_PIN_RESET);

  /*Configure GPIO pins : CE_1_Pin CE_2_Pin PE7 PE8
                           PE10 PE13 PE15 EXTRA2_DIGI_R_Pin */
  GPIO_InitStruct.Pin = CE_1_Pin|CE_2_Pin|GPIO_PIN_7|GPIO_PIN_8
                          |GPIO_PIN_10|GPIO_PIN_13|GPIO_PIN_15|EXTRA2_DIGI_R_Pin;
  GPIO_InitStruct.Mode = GPIO_MODE_OUTPUT_PP;
  GPIO_InitStruct.Pull = GPIO_NOPULL;
  GPIO_InitStruct.Speed = GPIO_SPEED_FREQ_LOW;
  HAL_GPIO_Init(GPIOE, &GPIO_InitStruct);

  /*Configure GPIO pin : EXTRA1_DIGI_R_Pin */
  GPIO_InitStruct.Pin = EXTRA1_DIGI_R_Pin;
  GPIO_InitStruct.Mode = GPIO_MODE_OUTPUT_PP;
  GPIO_InitStruct.Pull = GPIO_NOPULL;
  GPIO_InitStruct.Speed = GPIO_SPEED_FREQ_LOW;
  HAL_GPIO_Init(EXTRA1_DIGI_R_GPIO_Port, &GPIO_InitStruct);

  /*Configure GPIO pin : PA4 */
  GPIO_InitStruct.Pin = GPIO_PIN_4;
  GPIO_InitStruct.Mode = GPIO_MODE_INPUT;
  GPIO_InitStruct.Pull = GPIO_PULLUP;
  HAL_GPIO_Init(GPIOA, &GPIO_InitStruct);

  /*Configure GPIO pin : LF_DIGI_R_Pin */
  GPIO_InitStruct.Pin = LF_DIGI_R_Pin;
  GPIO_InitStruct.Mode = GPIO_MODE_OUTPUT_PP;
  GPIO_InitStruct.Pull = GPIO_PULLDOWN;
  GPIO_InitStruct.Speed = GPIO_SPEED_FREQ_LOW;
  HAL_GPIO_Init(LF_DIGI_R_GPIO_Port, &GPIO_InitStruct);

  /*Configure GPIO pin : PB0 */
  GPIO_InitStruct.Pin = GPIO_PIN_0;
  GPIO_InitStruct.Mode = GPIO_MODE_OUTPUT_PP;
  GPIO_InitStruct.Pull = GPIO_NOPULL;
  GPIO_InitStruct.Speed = GPIO_SPEED_FREQ_LOW;
  HAL_GPIO_Init(GPIOB, &GPIO_InitStruct);

  /*Configure GPIO pins : LB_DIGI_R_Pin RF_DIGI_R_Pin */
  GPIO_InitStruct.Pin = LB_DIGI_R_Pin|RF_DIGI_R_Pin;
  GPIO_InitStruct.Mode = GPIO_MODE_OUTPUT_PP;
  GPIO_InitStruct.Pull = GPIO_PULLDOWN;
  GPIO_InitStruct.Speed = GPIO_SPEED_FREQ_LOW;
  HAL_GPIO_Init(GPIOE, &GPIO_InitStruct);

  /*Configure GPIO pin : RB_DIGI_R_Pin */
  GPIO_InitStruct.Pin = RB_DIGI_R_Pin;
  GPIO_InitStruct.Mode = GPIO_MODE_OUTPUT_PP;
  GPIO_InitStruct.Pull = GPIO_PULLDOWN;
  GPIO_InitStruct.Speed = GPIO_SPEED_FREQ_LOW;
  HAL_GPIO_Init(RB_DIGI_R_GPIO_Port, &GPIO_InitStruct);

}

/* USER CODE BEGIN 4 */
void HAL_UART_RxCpltCallback(UART_HandleTypeDef *huart)
{
     if (huart->Instance == USART2){
        last_uart_data_time = uwTick;
        uart_resetting = 0;
        HAL_UART_Receive_IT(&huart2, (uint8_t*)&Str_PS2, sizeof(Str_PS2));
     }
}
/* USER CODE END 4 */

void Error_Handler(void)
{
  __disable_irq();
  while (1)
  {
  }
}
